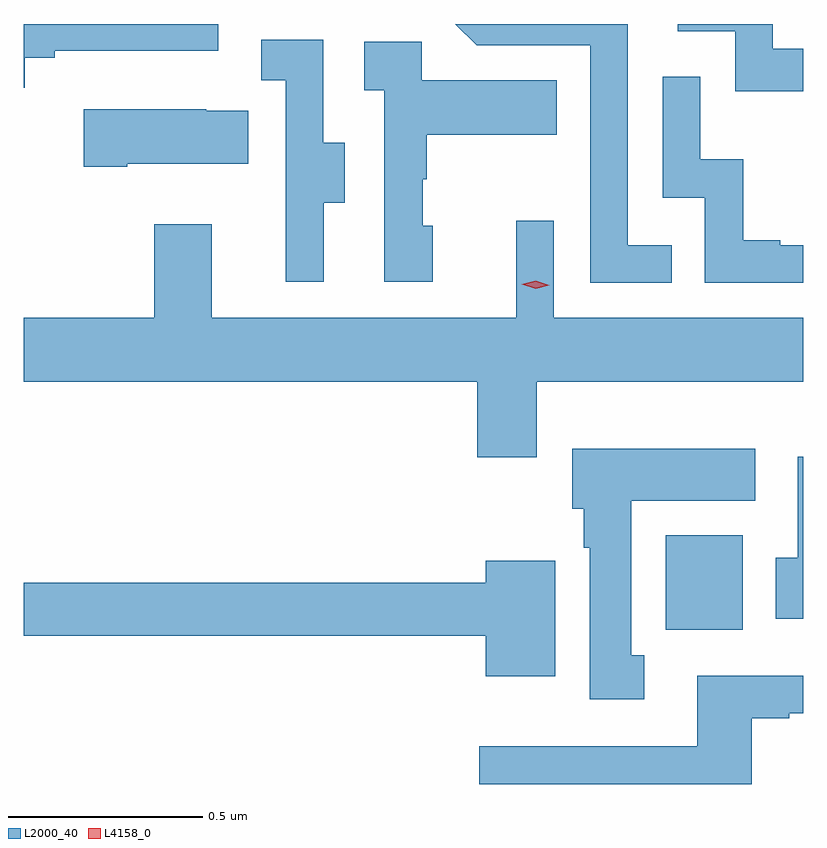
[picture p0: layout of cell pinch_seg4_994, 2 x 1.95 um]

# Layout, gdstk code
import gdstk
lib = gdstk.Library(unit=1e-6, precision=1e-09)
def R(c, l, rs):  # rectangles x0, y0, x1, y1
    for r in rs: c.add(gdstk.rectangle(r[:2], r[2:], *l))
def P(c, l, *ps):  # polygons
    for p in ps: c.add(gdstk.Polygon(p, *l))
L2000_40 = (2000, 40)
L4158_0 = (4158, 0)

pinch_seg4_994 = lib.new_cell('pinch_seg4_994')
R(pinch_seg4_994, L2000_40, [(878.87,786.86,879.067,787.102)])
P(pinch_seg4_994, L2000_40, [(879.223,788.349),(879.144,788.349),(879.144,788.413),(878.901,788.413),(878.901,788.394),(879.048,788.394),(879.048,788.241),(879.223,788.241)],
  [(877.226,788.326),(877.303,788.326),(877.303,788.345),(877.722,788.345),(877.722,788.413),(877.223,788.413),(877.223,788.249),(877.226,788.249)],
  [(878.885,787.845),(878.772,787.845),(878.772,788.413),(878.33,788.413),(878.385,788.358),(878.676,788.358),(878.676,787.749),(878.885,787.749)],
  [(877.993,787.954),(878.047,787.954),(878.047,788.109),(877.992,788.109),(877.992,788.372),(877.833,788.372),(877.833,788.269),(877.896,788.269),(877.896,787.965),(877.895,787.965),(877.895,787.752),(877.993,787.752)],
  [(878.272,787.896),(878.247,787.896),(878.247,788.015),(878.257,788.015),(878.257,788.129),(878.591,788.129),(878.591,788.269),(878.244,788.269),(878.244,788.367),(878.097,788.367),(878.097,788.243),(878.148,788.243),(878.148,787.752),(878.272,787.752)],
  [(879.223,787.845),(879.163,787.845),(879.163,787.858),(879.068,787.858),(879.068,788.066),(878.958,788.066),(878.958,788.278),(878.862,788.278),(878.862,787.968),(878.97,787.968),(878.97,787.749),(879.223,787.749)],
  [(877.489,788.054),(877.799,788.054),(877.799,788.191),(877.691,788.191),(877.691,788.194),(877.377,788.194),(877.377,788.047),(877.489,788.047)],
  [(878.486,787.909),(878.486,787.66),(877.705,787.66),(877.705,787.9),(877.558,787.9),(877.558,787.66),(877.223,787.66),(877.223,787.496),(878.387,787.496),(878.387,787.302),(878.539,787.302),(878.539,787.496),(879.223,787.496),(879.223,787.66),(878.583,787.66),(878.583,787.909)],
  [(878.815,786.794),(878.782,786.794),(878.782,787.19),(879.1,787.19),(879.1,787.324),(878.63,787.324),(878.63,787.17),(878.66,787.17),(878.66,787.07),(878.675,787.07),(878.675,786.681),(878.815,786.681)],
  [(879.223,787.303),(879.209,787.303),(879.209,787.044),(879.152,787.044),(879.152,786.888),(879.223,786.888)],
  [(878.587,787.036),(878.408,787.036),(878.408,786.98),(877.223,786.98),(877.223,786.844),(878.408,786.844),(878.408,786.74),(878.587,786.74)],
  [(879.091,786.633),(879.187,786.633),(879.187,786.645),(879.223,786.645),(879.223,786.742),(878.951,786.742),(878.951,786.561),(878.391,786.561),(878.391,786.464),(879.091,786.464)])
P(pinch_seg4_994, L4158_0, [(878.536,787.734),(878.501,787.745),(878.5,787.745),(878.501,787.745),(878.536,787.754),(878.571,787.743),(878.571,787.743),(878.571,787.743)])

lib.write_gds('pinch_seg4_994.gds')
